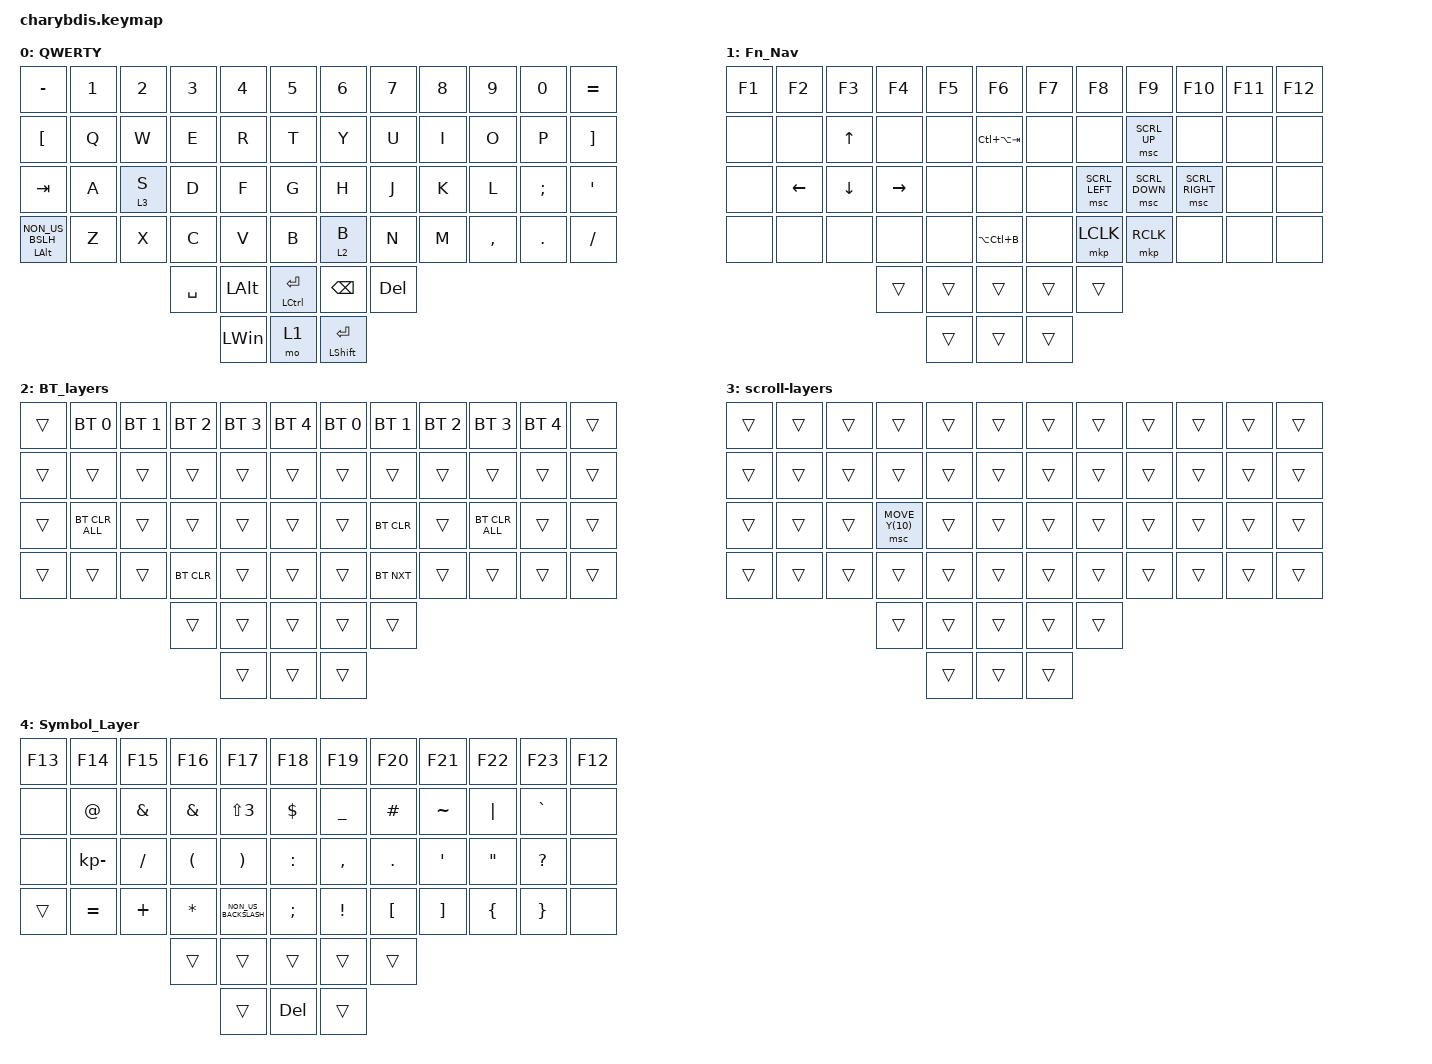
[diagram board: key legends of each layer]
#include <behaviors.dtsi>
#include <dt-bindings/zmk/bt.h>
#include <dt-bindings/zmk/keys.h>
#include <dt-bindings/zmk/pointing.h>
#include <dt-bindings/zmk/rgb.h>

&lt {
    tapping-term-ms = <200>;
    flavor = "balanced";
    quick-tap-ms = <150>;
};

/ {
    macros {
        To1_macro: To1_macro {
            compatible = "zmk,behavior-macro";
            label = "To1_macro";
            #binding-cells = <0>;
            bindings = <&rgb_ug RGB_EFF &rgb_ug RGB_COLOR_HSB(353,100,50) &to 1>;
        };

        To0_macro: To0_macro {
            compatible = "zmk,behavior-macro";
            label = "To0_macro";
            #binding-cells = <0>;
            bindings = <&rgb_ug RGB_EFR &to 0>;
        };

        To2_macro: To2_macro {
            compatible = "zmk,behavior-macro";
            label = "To2_macro";
            #binding-cells = <0>;
            bindings =
                <&to 2>,
                <&macro_wait_time 30>,
                <&rgb_ug RGB_COLOR_HSB(250,100,50)>;
        };
    };

    keymap {
        compatible = "zmk,keymap";

        QWERTY {
            bindings = <
&kp MINUS                 &kp N1  &kp N2   &kp N3     &kp N4        &kp N5             &kp N6           &kp N7      &kp N8  &kp N9     &kp N0         &kp EQUAL
&kp LEFT_BRACKET          &kp Q   &kp W    &kp E      &kp R         &kp T              &kp Y            &kp U       &kp I   &kp O      &kp P          &kp RIGHT_BRACKET
&kp TAB                   &kp A   &lt 3 S  &kp D      &kp F         &kp G              &kp H            &kp J       &kp K   &kp L      &kp SEMICOLON  &kp SQT
&mt LEFT_ALT NON_US_BSLH  &kp Z   &kp X    &kp C      &kp V         &kp B              &lt 2 B          &kp N       &kp M   &kp COMMA  &kp PERIOD     &kp SLASH
                                           &kp SPACE  &kp LEFT_ALT  &mt LCTRL ENTER    &kp BACKSPACE    &kp DELETE
                                                      &kp LEFT_WIN  &mo 1              &mt LSHFT ENTER
            >;
        };

        Fn_Nav {
            bindings = <
&kp F1  &kp F2    &kp F3        &kp F4     &kp F5  &kp F6             &kp F7  &kp F8          &kp F9          &kp F10          &kp F11  &kp F12
&none   &none     &kp UP_ARROW  &none      &none   &kp LC(LA(TAB))    &none   &none           &msc SCRL_UP    &none            &none    &none
&none   &kp LEFT  &kp DOWN      &kp RIGHT  &none   &none              &none   &msc SCRL_LEFT  &msc SCRL_DOWN  &msc SCRL_RIGHT  &none    &none
&none   &none     &none         &none      &none   &kp LA(LC(B))      &none   &mkp LCLK       &mkp RCLK       &none            &none    &none
                                &trans     &trans  &trans             &trans  &trans
                                           &trans  &trans             &trans
            >;
        };

        BT_layers {
            bindings = <
&trans  &bt BT_SEL 0    &bt BT_SEL 1  &bt BT_SEL 2  &bt BT_SEL 3  &bt BT_SEL 4    &bt BT_SEL 0  &bt BT_SEL 1  &bt BT_SEL 2  &bt BT_SEL 3    &bt BT_SEL 4  &trans
&trans  &trans          &trans        &trans        &trans        &trans          &trans        &trans        &trans        &trans          &trans        &trans
&trans  &bt BT_CLR_ALL  &trans        &trans        &trans        &trans          &trans        &bt BT_CLR    &trans        &bt BT_CLR_ALL  &trans        &trans
&trans  &trans          &trans        &bt BT_CLR    &trans        &trans          &trans        &bt BT_NXT    &trans        &trans          &trans        &trans
                                      &trans        &trans        &trans          &trans        &trans
                                                    &trans        &trans          &trans
            >;
        };

        scroll-layers {
            bindings = <
&trans  &trans  &trans  &trans           &trans  &trans    &trans  &trans  &trans  &trans  &trans  &trans
&trans  &trans  &trans  &trans           &trans  &trans    &trans  &trans  &trans  &trans  &trans  &trans
&trans  &trans  &trans  &msc MOVE_Y(10)  &trans  &trans    &trans  &trans  &trans  &trans  &trans  &trans
&trans  &trans  &trans  &trans           &trans  &trans    &trans  &trans  &trans  &trans  &trans  &trans
                        &trans           &trans  &trans    &trans  &trans
                                         &trans  &trans    &trans
            >;
        };

        Symbol_Layer {
            bindings = <
&kp F13  &kp F14          &kp F15        &kp F16               &kp F17                &kp F18          &kp F19         &kp F20     &kp F21    &kp F22         &kp F23    &kp F12
&none    &kp AT_SIGN      &kp AMPERSAND  &kp AMPERSAND         &kp LS(NUMBER_3)       &kp DOLLAR       &kp UNDERSCORE  &kp HASH    &kp TILDE  &kp PIPE        &kp GRAVE  &none
&none    &kp KP_SUBTRACT  &kp FSLH       &kp LEFT_PARENTHESIS  &kp RIGHT_PARENTHESIS  &kp COLON        &kp COMMA       &kp PERIOD  &kp SQT    &kp DQT         &kp QMARK  &none
&trans   &kp EQUAL        &kp PLUS       &kp ASTERISK          &kp NON_US_BACKSLASH   &kp SEMICOLON    &kp EXCL        &kp LBKT    &kp RBKT   &kp LEFT_BRACE  &kp RBRC   &none
                                         &trans                &trans                 &trans           &trans          &trans
                                                               &trans                 &kp DELETE       &trans
            >;
        };
    };
};
